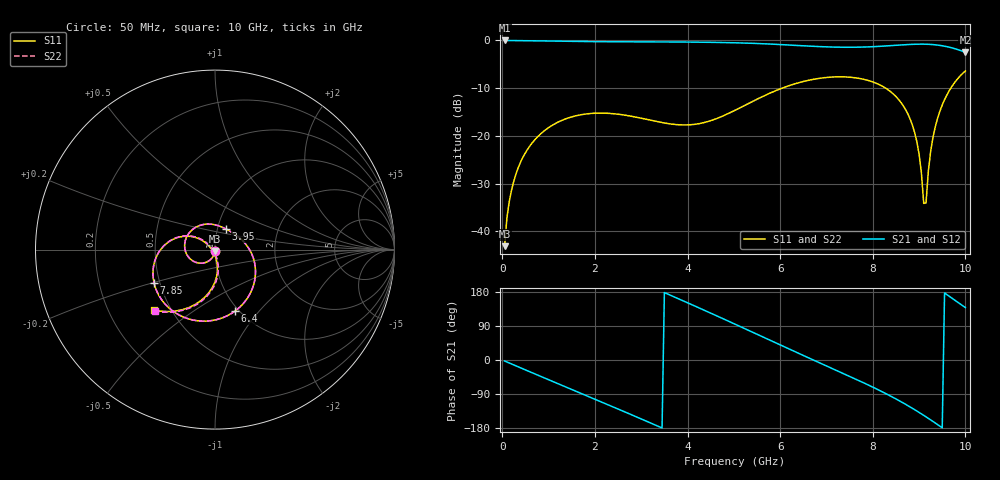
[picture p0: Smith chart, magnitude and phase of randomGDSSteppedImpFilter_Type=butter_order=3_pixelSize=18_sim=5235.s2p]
! freq	dB(S11)	phase(S11)	dB(S12)	phase(S12)
!  dB(S21)	phase(S21)	dB(S22)	phase(S22)
!S-par simulation data
#  GHz  S  DB  R 50
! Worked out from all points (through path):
!   200 points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, 50 MHz to 10 GHz, reference 50 ohm
!   highest |S21| = -0.01 dB at 50 MHz (marker M1); lowest = -2.5 dB at 10 GHz (marker M2)
!   group delay of S21, straight-line fit = 156 ps
!   lowest |S11| = -43.1 dB at 50 MHz (marker M3), VSWR 1.01, Z = 50 - j0.698 ohm
!   |S11| at or under -10 dB: start of sweep to 6.043 GHz; 8.277 GHz to 9.685 GHz (1.408 GHz wide, 15.7 % of centre)
!   |S22| runs from -43.1 to -6.4 dB; largest |S21 - S12| = 0
!   S11 on the Smith chart (normalised r, x): 50 MHz: 1.00, -0.01; 3.95 GHz: 1.10, +0.26; 6.4 GHz: 0.96, -0.75; 7.85 GHz: 0.47, -0.20; 10 GHz: 0.40, -0.35
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0.05  -43.12 -91.6  -0.01 -2.6  -0.01 -2.6  -43.12 -91.5
0.2  -31.36 -100.0  -0.02 -10.5  -0.02 -10.5  -31.36 -100.0
0.5  -23.53 -116.6  -0.06 -26.2  -0.06 -26.2  -23.53 -116.6
1.15  -17.39 -150.6  -0.15 -59.8  -0.15 -59.8  -17.39 -150.6
1.75  -15.49 178.4  -0.23 -90.6  -0.23 -90.6  -15.49 178.4
2.5  -15.46 139.6  -0.28 -129.3  -0.28 -129.3  -15.46 139.6
3.4  -17.12 92.0  -0.31 -176.7  -0.31 -176.7  -17.12 92.0
3.95  -17.72 62.3  -0.34 153.8  -0.34 153.8  -17.72 62.3
4.55  -16.66 29.6  -0.40 121.0  -0.40 121.0  -16.65 29.7
5.05  -14.52 2.3  -0.50 93.2  -0.50 93.2  -14.52 2.3
5.65  -11.62 -30.9  -0.70 59.5  -0.70 59.5  -11.62 -30.8
6.4  -8.86 -72.2  -1.08 17.6  -1.08 17.6  -8.86 -72.1
6.7  -8.18 -88.6  -1.23 1.0  -1.23 1.0  -8.18 -88.5
7.85  -8.26 -151.5  -1.37 -62.8  -1.37 -62.8  -8.26 -151.6
8.35  -10.48 179.1  -1.12 -93.0  -1.12 -93.0  -10.49 178.8
8.9  -19.16 146.2  -0.80 -130.7  -0.80 -130.7  -19.20 144.5
9  -23.81 144.1  -0.78 -138.3  -0.78 -138.3  -23.94 141.0
9.1  -34.15 172.1  -0.78 -146.0  -0.78 -146.0  -35.56 163.6
9.15  -34.04 -109.6  -0.80 -150.0  -0.80 -150.0  -35.32 -100.0
9.25  -23.23 -81.2  -0.84 -158.0  -0.84 -158.0  -23.31 -77.4
9.4  -16.30 -86.9  -0.98 -170.4  -0.98 -170.4  -16.31 -85.0
10  -6.41 -135.2  -2.50 138.2  -2.50 138.2  -6.41 -134.4
